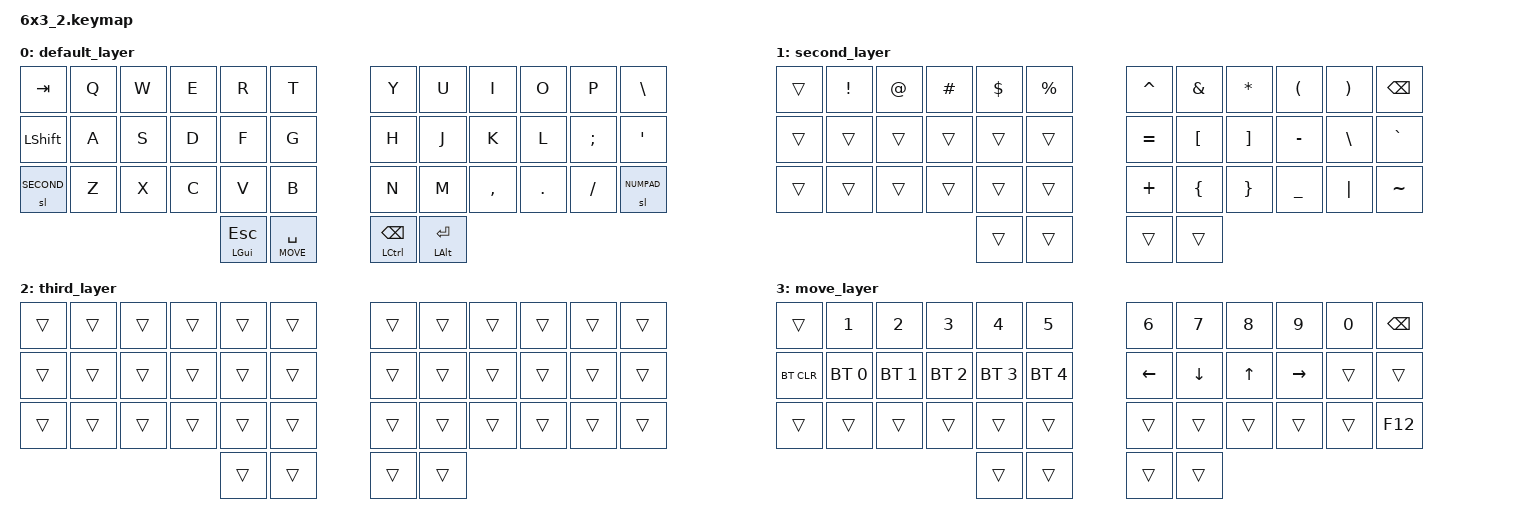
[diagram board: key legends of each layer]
#include <behaviors.dtsi>
#include <dt-bindings/zmk/keys.h>
#include <dt-bindings/zmk/bt.h>

#define DEFAULT 0
#define SECOND  1
#define NUMPAD  2
#define MOVE    3

#define TAPPING_TERM_MS 200

/ {
    keymap {
        compatible = "zmk,keymap";

        default_layer {
            bindings = <
    &kp TAB     &kp Q    &kp W    &kp E     &kp R       &kp T              &kp Y       &kp U       &kp I       &kp O     &kp P      &kp BSLH
    &kp LSHIFT  &kp A    &kp S    &kp D     &kp F       &kp G              &kp H       &kp J       &kp K       &kp L     &kp SEMI   &kp SQT
    &sl SECOND  &kp Z    &kp X    &kp C     &kp V       &kp B              &kp N       &kp M       &kp COMMA   &kp DOT   &kp FSLH   &sl NUMPAD
                                            &mt LGUI ESC    &lt MOVE SPACE   &mt LCTRL BSPC    &mt LALT ENTER   
            >;
        };

        second_layer {
            bindings = <
    &trans   &kp EXCL &kp AT &kp HASH &kp DLLR &kp PRCNT     &kp CARET &kp AMPS  &kp STAR  &kp LPAR  &kp RPAR &kp BSPC
    &trans   &trans   &trans &trans   &trans   &trans        &kp EQUAL &kp LBKT  &kp RBKT  &kp MINUS &kp BSLH &kp GRAVE
    &trans   &trans   &trans &trans   &trans   &trans        &kp PLUS  &kp LBRC  &kp RBRC  &kp UNDER &kp PIPE &kp TILDE    
                                    &trans   &trans        &trans    &trans  
            >;
        };

        third_layer {
            bindings = <
    &trans    &trans    &trans    &trans    &trans    &trans        &trans    &trans    &trans    &trans    &trans    &trans    
    &trans    &trans    &trans    &trans    &trans    &trans        &trans    &trans    &trans    &trans    &trans    &trans    
    &trans    &trans    &trans    &trans    &trans    &trans        &trans    &trans    &trans    &trans    &trans    &trans    
                                            &trans    &trans        &trans    &trans  
            >;
        };

        move_layer {
            bindings = <
    &trans    &kp N1       &kp N2       &kp N3       &kp N4       &kp N5         &kp N6    &kp N7    &kp N8  &kp N9     &kp N0  &kp BSPC
    &bt BT_CLR &bt BT_SEL 0 &bt BT_SEL 1 &bt BT_SEL 2 &bt BT_SEL 3 &bt BT_SEL 4   &kp LEFT  &kp DOWN  &kp UP  &kp RIGHT  &trans  &trans
    &trans  &trans       &trans       &trans       &trans       &trans         &trans    &trans    &trans  &trans     &trans  &kp F12   
                                                     &trans       &trans         &trans    &trans  
            >;

        };
    };
};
